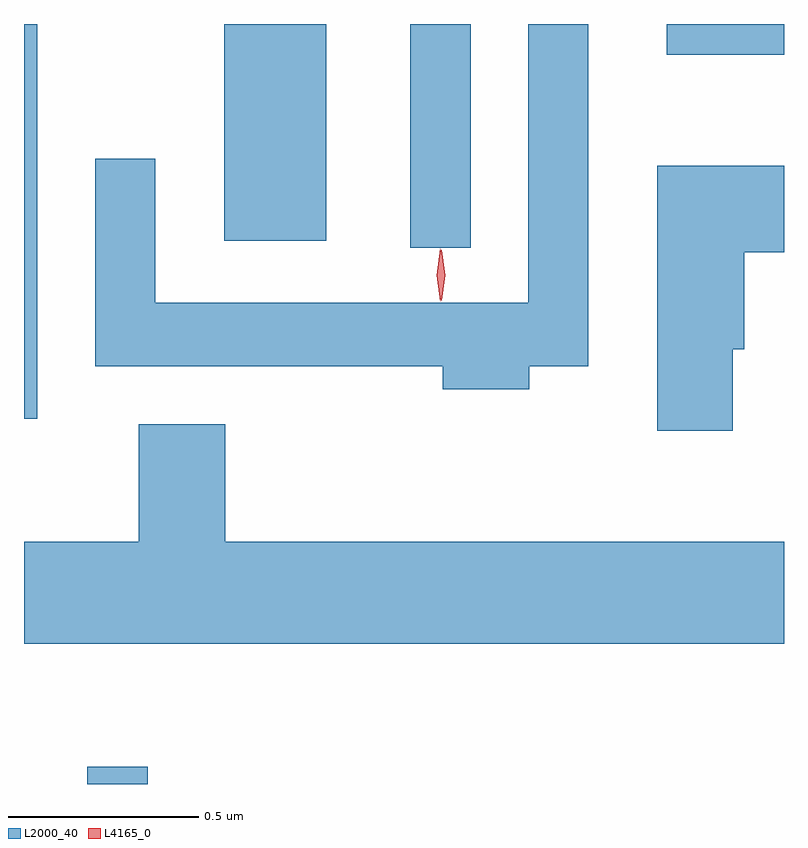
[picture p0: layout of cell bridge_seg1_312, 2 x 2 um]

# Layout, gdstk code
import gdstk
lib = gdstk.Library(unit=1e-6, precision=1e-09)
def R(c, l, rs):  # rectangles x0, y0, x1, y1
    for r in rs: c.add(gdstk.rectangle(r[:2], r[2:], *l))
def P(c, l, *ps):  # polygons
    for p in ps: c.add(gdstk.Polygon(p, *l))
L2000_40 = (2000, 40)
L4165_0 = (4165, 0)

bridge_seg1_312 = lib.new_cell('bridge_seg1_312')
R(bridge_seg1_312, L2000_40, [(842.056,877.007,842.214,877.053), (841.889,877.968,841.924,879.007), (842.906,878.418,843.064,879.007), (842.416,878.436,842.684,879.007), (843.581,878.926,843.889,879.007)])
P(bridge_seg1_312, L2000_40, [(843.219,878.106),(843.374,878.106),(843.374,879.007),(843.216,879.007),(843.216,878.274),(842.234,878.274),(842.234,878.653),(842.076,878.653),(842.076,878.106),(842.991,878.106),(842.991,878.046),(843.219,878.046)],
  [(843.754,878.151),(843.784,878.151),(843.784,878.406),(843.889,878.406),(843.889,878.634),(843.556,878.634),(843.556,877.936),(843.754,877.936)],
  [(843.889,877.644),(842.419,877.644),(842.419,877.954),(842.191,877.954),(842.191,877.644),(841.889,877.644),(841.889,877.376),(843.889,877.376)])
P(bridge_seg1_312, L4165_0, [(842.984,878.277),(842.975,878.346),(842.984,878.416),(842.985,878.416),(842.985,878.416),(842.995,878.346),(842.985,878.277),(842.985,878.277)],
  [(842.987,878.279),(842.987,878.28),(842.977,878.346),(842.987,878.412),(842.987,878.413),(842.988,878.412),(842.997,878.346),(842.988,878.28)])

lib.write_gds('bridge_seg1_312.gds')
